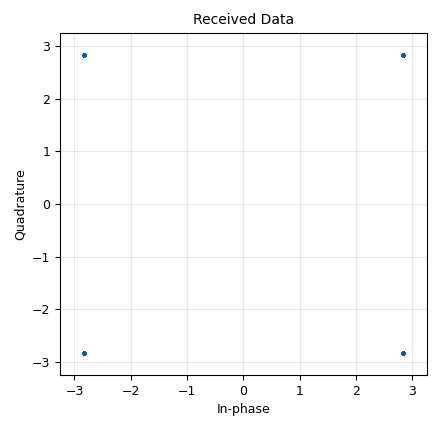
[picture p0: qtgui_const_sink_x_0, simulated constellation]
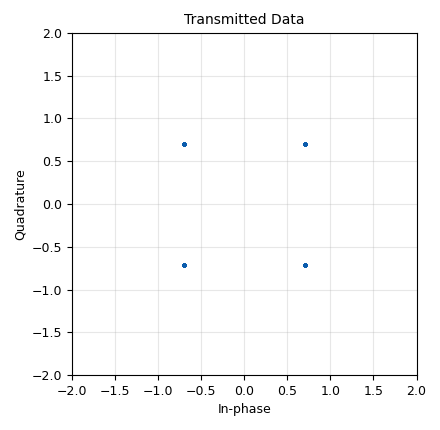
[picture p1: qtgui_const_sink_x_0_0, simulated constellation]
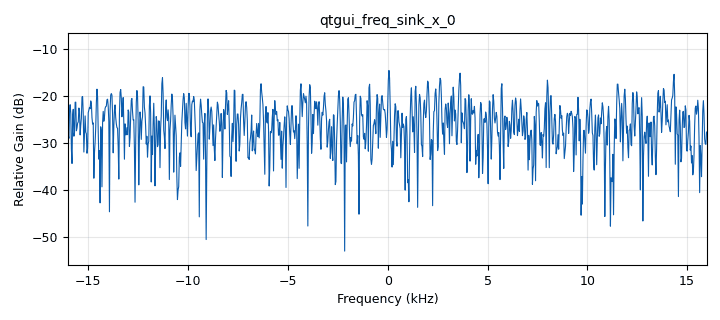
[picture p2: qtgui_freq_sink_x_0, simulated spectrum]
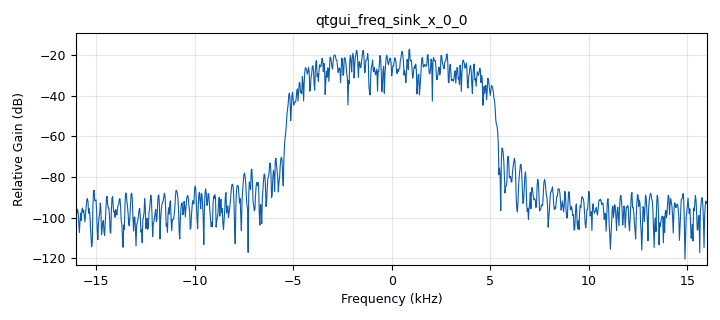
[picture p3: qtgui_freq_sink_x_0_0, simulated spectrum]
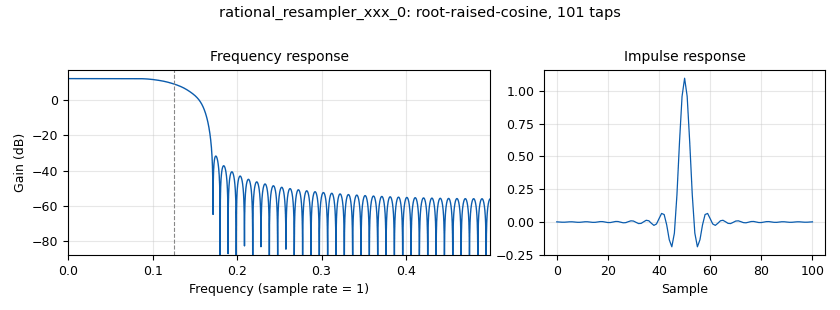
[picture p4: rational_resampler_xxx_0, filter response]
options:
  parameters:
    generate_options: qt_gui
    id: top_block
    output_language: python
    title: OFDMtx_rx
  states: {}

blocks:
- name: Nc
  id: variable
  parameters:
    value: '4'
  states: {}
- name: delay
  id: variable_qtgui_range
  parameters:
    label: Delay value
    orient: Qt.Horizontal
    start: '0'
    step: '1'
    stop: '100'
    value: '1'
  states: {}
- name: samp_rate
  id: variable
  parameters:
    value: '32000'
  states: {}
- name: analog_random_source_x_0
  id: analog_random_source_x
  parameters:
    max: '4'
    min: '0'
    num_samps: '1000'
    repeat: 'True'
    type: int
  states: {}
- name: blocks_deinterleave_0
  id: blocks_deinterleave
  parameters:
    num_streams: '4'
    type: complex
  states: {}
- name: blocks_deinterleave_1
  id: blocks_deinterleave
  parameters:
    num_streams: '6'
    type: complex
  states: {}
- name: blocks_delay_0
  id: blocks_delay
  parameters:
    delay: '0'
    type: complex
  states: {state: disabled}
- name: blocks_interleave_0
  id: blocks_interleave
  parameters:
    num_streams: '6'
    type: complex
  states: {}
- name: blocks_interleave_1
  id: blocks_interleave
  parameters:
    num_streams: '4'
    type: complex
  states: {}
- name: blocks_null_sink_0
  id: blocks_null_sink
  parameters:
    num_inputs: '2'
    type: complex
  states: {}
- name: blocks_stream_to_vector_0
  id: blocks_stream_to_vector
  parameters:
    num_items: '4'
    type: complex
  states: {}
- name: blocks_stream_to_vector_1
  id: blocks_stream_to_vector
  parameters:
    num_items: '4'
    type: complex
  states: {}
- name: blocks_throttle_0
  id: blocks_throttle
  parameters:
    samples_per_second: samp_rate
    type: complex
  states: {}
- name: blocks_vector_to_stream_0
  id: blocks_vector_to_stream
  parameters:
    num_items: '4'
    type: complex
  states: {}
- name: blocks_vector_to_stream_0_0
  id: blocks_vector_to_stream
  parameters:
    num_items: '4'
    type: complex
  states: {}
- name: channels_channel_model_0
  id: channels_channel_model
  parameters:
    epsilon: '1.0'
    freq_offset: '0.0'
    noise_voltage: '0.0'
    seed: '0'
    taps: (1,0,0)
  states: {state: disabled}
- name: digital_chunks_to_symbols_xx_0
  id: digital_chunks_to_symbols_xx
  parameters:
    dimension: '1'
    in_type: int
    out_type: complex
    symbol_table: ((0.707+0.707j,-0.707+0.707j,-0.707-0.707j,0.707-0.707j))
  states: {}
- name: fft_vxx_0
  id: fft_vxx
  parameters:
    fft_size: '4'
    forward: 'False'
    shift: 'True'
    type: complex
    window: window.rectangular(4)
  states: {}
- name: fft_vxx_1
  id: fft_vxx
  parameters:
    fft_size: '4'
    forward: 'True'
    shift: 'True'
    type: complex
    window: window.rectangular(4)
  states: {}
- name: interp_fir_filter_xxx_0
  id: interp_fir_filter_xxx
  parameters:
    interp: '1'
    taps: ((1,0,0))
    type: ccc
  states: {}
- name: qtgui_const_sink_x_0
  id: qtgui_const_sink_x
  parameters:
    autoscale: 'True'
    grid: 'True'
    name: '"Received Data"'
    size: '1024'
    type: complex
  states: {}
- name: qtgui_const_sink_x_0_0
  id: qtgui_const_sink_x
  parameters:
    name: '"Transmitted Data"'
    size: '1024'
    type: complex
  states: {}
- name: qtgui_freq_sink_x_0
  id: qtgui_freq_sink_x
  parameters:
    autoscale: 'True'
    bw: samp_rate
    fc: '0'
    fftsize: '1024'
    grid: 'True'
    type: complex
    wintype: firdes.WIN_BLACKMAN_hARRIS
  states: {}
- name: qtgui_freq_sink_x_0_0
  id: qtgui_freq_sink_x
  parameters:
    autoscale: 'True'
    bw: samp_rate
    fc: '0'
    fftsize: '1024'
    grid: 'True'
    type: complex
    wintype: firdes.WIN_BLACKMAN_hARRIS
  states: {}
- name: qtgui_time_sink_x_0
  id: qtgui_time_sink_x
  parameters:
    size: '1024'
    srate: samp_rate
    type: complex
  states: {state: disabled}
- name: qtgui_waterfall_sink_x_0
  id: qtgui_waterfall_sink_x
  parameters:
    bw: samp_rate
    fc: '0'
    fftsize: '1024'
    type: complex
    wintype: firdes.WIN_BLACKMAN_hARRIS
  states: {state: disabled}
- name: rational_resampler_xxx_0
  id: rational_resampler_xxx
  parameters:
    decim: '1'
    interp: '4'
    taps: firdes.root_raised_cosine(4,1,0.25,0.35,100)
    type: ccc
  states: {}

connections:
- [analog_random_source_x_0, '0', digital_chunks_to_symbols_xx_0, '0']
- [blocks_deinterleave_0, '0', blocks_interleave_0, '2']
- [blocks_deinterleave_0, '1', blocks_interleave_0, '3']
- [blocks_deinterleave_0, '2', blocks_interleave_0, '0']
- [blocks_deinterleave_0, '2', blocks_interleave_0, '4']
- [blocks_deinterleave_0, '3', blocks_interleave_0, '1']
- [blocks_deinterleave_0, '3', blocks_interleave_0, '5']
- [blocks_deinterleave_1, '0', blocks_null_sink_0, '0']
- [blocks_deinterleave_1, '1', blocks_null_sink_0, '1']
- [blocks_deinterleave_1, '2', blocks_interleave_1, '0']
- [blocks_deinterleave_1, '3', blocks_interleave_1, '1']
- [blocks_deinterleave_1, '4', blocks_interleave_1, '2']
- [blocks_deinterleave_1, '5', blocks_interleave_1, '3']
- [blocks_delay_0, '0', blocks_deinterleave_1, '0']
- [blocks_interleave_0, '0', interp_fir_filter_xxx_0, '0']
- [blocks_interleave_1, '0', blocks_stream_to_vector_1, '0']
- [blocks_stream_to_vector_0, '0', fft_vxx_0, '0']
- [blocks_stream_to_vector_1, '0', fft_vxx_1, '0']
- [blocks_throttle_0, '0', blocks_stream_to_vector_0, '0']
- [blocks_vector_to_stream_0, '0', blocks_deinterleave_0, '0']
- [blocks_vector_to_stream_0, '0', rational_resampler_xxx_0, '0']
- [blocks_vector_to_stream_0_0, '0', qtgui_const_sink_x_0, '0']
- [blocks_vector_to_stream_0_0, '0', qtgui_freq_sink_x_0, '0']
- [blocks_vector_to_stream_0_0, '0', qtgui_time_sink_x_0, '0']
- [blocks_vector_to_stream_0_0, '0', qtgui_waterfall_sink_x_0, '0']
- [digital_chunks_to_symbols_xx_0, '0', blocks_throttle_0, '0']
- [digital_chunks_to_symbols_xx_0, '0', qtgui_const_sink_x_0_0, '0']
- [fft_vxx_0, '0', blocks_vector_to_stream_0, '0']
- [fft_vxx_1, '0', blocks_vector_to_stream_0_0, '0']
- [interp_fir_filter_xxx_0, '0', blocks_deinterleave_1, '0']
- [interp_fir_filter_xxx_0, '0', blocks_delay_0, '0']
- [rational_resampler_xxx_0, '0', qtgui_freq_sink_x_0_0, '0']

metadata:
  file_format: 1
